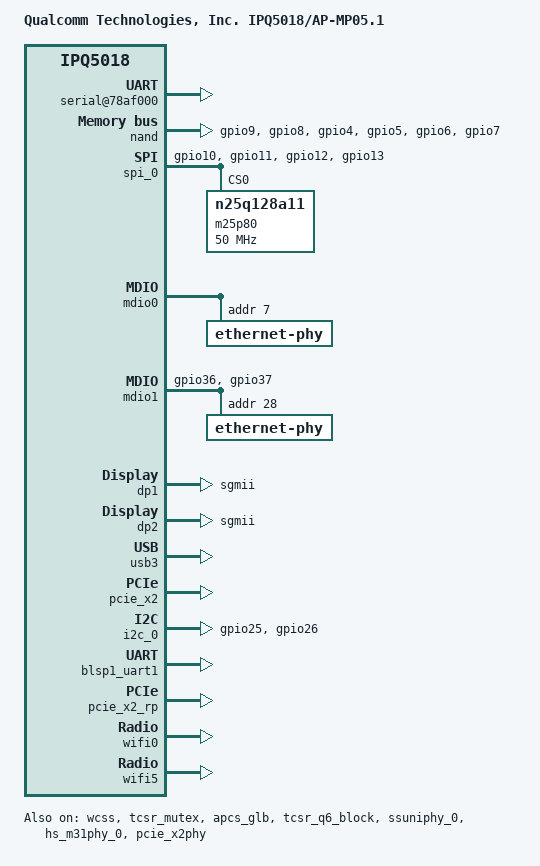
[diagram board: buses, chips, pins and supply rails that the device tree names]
/dts-v1/;
/* Copyright (c) 2018-2021, The Linux Foundation. All rights reserved.
 *
 * Copyright (c) 2022 Qualcomm Innovation Center, Inc. All rights reserved.
 *
 * Permission to use, copy, modify, and/or distribute this software for any
 * purpose with or without fee is hereby granted, provided that the above
 * copyright notice and this permission notice appear in all copies.
 *
 * THE SOFTWARE IS PROVIDED "AS IS" AND THE AUTHOR DISCLAIMS ALL WARRANTIES
 * WITH REGARD TO THIS SOFTWARE INCLUDING ALL IMPLIED WARRANTIES OF
 * MERCHANTABILITY AND FITNESS. IN NO EVENT SHALL THE AUTHOR BE LIABLE FOR
 * ANY SPECIAL, DIRECT, INDIRECT, OR CONSEQUENTIAL DAMAGES OR ANY DAMAGES
 * WHATSOEVER RESULTING FROM LOSS OF USE, DATA OR PROFITS, WHETHER IN AN
 * ACTION OF CONTRACT, NEGLIGENCE OR OTHER TORTIOUS ACTION, ARISING OUT OF
 * OR IN CONNECTION WITH THE USE OR PERFORMANCE OF THIS SOFTWARE.
 */

#include "ipq5018.dtsi"

/ {
	#address-cells = <0x2>;
	#size-cells = <0x2>;
	model = "Qualcomm Technologies, Inc. IPQ5018/AP-MP05.1";
	compatible = "qcom,ipq5018-ap-mp05.1", "qcom,ipq5018-mp05.1", "qcom,ipq5018";
	interrupt-parent = <&intc>;

	aliases {
		sdhc1 = &sdhc_1; /* SDC1 eMMC slot */
		serial0 = &blsp1_uart1;
		serial1 = &blsp1_uart2;
		ethernet0 = "/soc/dp1";
		ethernet1 = "/soc/dp2";
	};

	chosen {
		bootargs = "console=ttyMSM0,115200,n8 rw init=/init";
		bootargs-append = " swiotlb=1 coherent_pool=2M";
		stdout-path = "serial0";
	};

	reserved-memory {
	#ifdef __IPQ_MEM_PROFILE_256_MB__
	/*            256 MB Profile
	 * +=========+==============+========================+
	 * |        |              |                         |
	 * | Region | Start Offset |          Size           |
	 * |        |              |                         |
	 * +--------+--------------+-------------------------+
	 * |        |              |                         |
	 * |        |              |                         |
	 * |  NSS   |  0x40000000  |          8MB            |
	 * |        |              |                         |
	 * |        |              |                         |
	 * +--------+--------------+-------------------------+
	 * |        |              |                         |
	 * |        |              |                         |
	 * |        |              |                         |
	 * |        |              |                         |
	 * | Linux  |  0x40800000  | Depends on total memory |
	 * |        |              |                         |
	 * |        |              |                         |
	 * |        |              |                         |
	 * +        |              |                         |
	 * +--------+--------------+-------------------------+
	 * |        |              |                         |
	 * | uboot  |  0x4A600000  |           4MB           |
	 * |        |              |                         |
	 * +--------+--------------+-------------------------+
	 * |  SBL   |  0x4AA00000  |           1MB           |
	 * +--------+--------------+-------------------------+
	 * |  smem  |  0x4AB00000  |           1MB           |
	 * +--------+--------------+-------------------------+
	 * |        |              |                         |
	 * |   TZ   |  0x4AC00000  |           4MB           |
	 * |        |              |                         |
	 * +--------+--------------+-------------------------+
	 * |        |              |                         |
	 * |        |              |                         |
	 * |        |              |                         |
	 * |   Q6   |  0x4B000000  |          23MB           |
	 * |        |              |                         |
	 * |        |              |                         |
	 * |        |              |                         |
	 * +--------+--------------+-------------------------+
	 * | M3 Dump| 0x4C700000   |          1MB            |
	 * +--------+--------------+-------------------------+
	 * | QDSS   | 0x4C800000   |          1MB            |
	 * +--------+--------------+-------------------------+
	 * |        |              |                         |
	 * |QCN9224 |  0x4C900000  |          17MB           |
	 * |        |              |                         |
	 * +--------+--------------+-------------------------+
	 * |        |              |                         |
	 * |  MHI1  |  0x4DA00000  |           11MB          |
	 * |        |              |                         |
	 * +--------+--------------+-------------------------+
	 * |                                                 |
	 * |      Rest of the memory for Linux               |
	 * |                                                 |
	 * +=================================================+
	 */
		q6_region: memory@4b000000 {
			no-map;
			reg = <0x0 0x4b000000 0x0 0x01700000>;
		};

		m3_dump@4c700000 {
			no-map;
			reg = <0x0 0x4C700000 0x0 0x100000>;
		};

		q6_etr_region:q6_etr_dump@4c800000 {
			no-map;
			reg = <0x0 0x4c800000 0x0 0x100000>;
		};

		qcn9224_pcie0: qcn9224_pcie0@4c900000 {
			no-map;
			reg = <0x0 0x4C900000 0x0 0x01100000>;
		};

	#if defined(__CNSS2__)
		mhi_region0: dma_pool1@4da00000 {
			compatible = "shared-dma-pool";
			no-map;
			reg = <0x0 0x4DA00000 0x0 0x00B00000>;
		};
	#endif
	#elif __IPQ_MEM_PROFILE_512_MB__
	/*                      512 MB Profile
	 * +=========+==============+========================+
	 * |        |              |                         |
	 * | Region | Start Offset |          Size           |
	 * |        |              |                         |
	 * +--------+--------------+-------------------------+
	 * |        |              |                         |
	 * |        |              |                         |
	 * |  NSS   |  0x40000000  |          16MB           |
	 * |        |              |                         |
	 * |        |              |                         |
	 * +--------+--------------+-------------------------+
	 * |        |              |                         |
	 * |        |              |                         |
	 * |        |              |                         |
	 * |        |              |                         |
	 * | Linux  |  0x41000000  | Depends on total memory |
	 * |        |              |                         |
	 * |        |              |                         |
	 * |        |              |                         |
	 * |        |              |                         |
	 * +--------+--------------+-------------------------+
	 * |        |              |                         |
	 * | uboot  |  0x4A600000  |           4MB           |
	 * |        |              |                         |
	 * +--------+--------------+-------------------------+
	 * |  SBL   |  0x4AA00000  |           1MB           |
	 * +--------+--------------+-------------------------+
	 * |  smem  |  0x4AB00000  |           1MB           |
	 * +--------+--------------+-------------------------+
	 * |        |              |                         |
	 * |   TZ   |  0x4AC00000  |           4MB           |
	 * |        |              |                         |
	 * +--------+--------------+-------------------------+
	 * |        |              |                         |
	 * |        |              |                         |
	 * |        |              |                         |
	 * |   Q6   |  0x4B000000  |          24MB           |
	 * |        |              |                         |
	 * |        |              |                         |
	 * +--------+--------------+-------------------------+
	 * | M3 Dump|  0x4C800000  |           1MB           |
	 * +--------+--------------+-------------------------+
	 * |  QDSS  |  0x4C900000  |           1MB           |
	 * +--------+--------------+-------------------------+
	 * | caldb  |  0x4CA00000  |           2MB           |
	 * +--------+--------------+-------------------------+
	 * |        |              |                         |
	 * |QCN9224 |  0x4CC00000  |          46MB           |
	 * |        |              |                         |
	 * +--------+--------------+-------------------------+
	 * |        |              |                         |
	 * |  MHI0  |  0x4FA00000  |           26MB          |
	 * |        |              |                         |
	 * +--------+--------------+-------------------------+
	 * |        |              |                         |
	 * |  MLO   |  0x51400000  |            7MB          |
	 * |        |              |                         |
	 * +--------+--------------+-------------------------+
	 * |                                                 |
	 * |      Rest of the memory for Linux               |
	 * |                                                 |
	 * +=================================================+
	 */
		q6_region: memory@4b000000 {
			no-map;
			reg = <0x0 0x4b000000 0x0 0x01800000>;
		};

		m3_dump@4c800000 {
			no-map;
			reg = <0x0 0x4c800000 0x0 0x100000>;
		};

		q6_etr_region:q6_etr_dump@4c900000 {
			no-map;
			reg = <0x0 0x4c900000 0x0 0x100000>;
		};

		q6_caldb_region:q6_caldb_region@4ca00000 {
			no-map;
			reg = <0x0 0x4ca00000 0x0 0x200000>;
		};

		qcn9224_pcie0: qcn9224_pcie0@4cc00000 {
			no-map;
			reg = <0x0 0x4CC00000 0x0 0x02E00000>;
		};

	#if defined(__CNSS2__)
		mhi_region0: dma_pool1@4FA00000 {
			compatible = "shared-dma-pool";
			no-map;
			reg = <0x0 0x4FA00000 0x0 0x01A00000>;
		};
	#endif
		mlo_global_mem: mlo_global_mem0@51400000 {
			no-map;
			reg = <0x0 0x51400000 0x0 0x700000>;
		};
	#else
	/*                      1G Profile
	 * +=========+==============+========================+
	 * |        |              |                         |
	 * | Region | Start Offset |          Size           |
	 * |        |              |                         |
	 * +--------+--------------+-------------------------+
	 * |        |              |                         |
	 * |        |              |                         |
	 * |  NSS   |  0x40000000  |          16MB           |
	 * |        |              |                         |
	 * |        |              |                         |
	 * +--------+--------------+-------------------------+
	 * |        |              |                         |
	 * |        |              |                         |
	 * |        |              |                         |
	 * |        |              |                         |
	 * | Linux  |  0x41000000  | Depends on total memory |
	 * |        |              |                         |
	 * |        |              |                         |
	 * |        |              |                         |
	 * |        |              |                         |
	 * +--------+--------------+-------------------------+
	 * |        |              |                         |
	 * | uboot  |  0x4A600000  |           4MB           |
	 * |        |              |                         |
	 * +--------+--------------+-------------------------+
	 * |  SBL   |  0x4AA00000  |           1MB           |
	 * +--------+--------------+-------------------------+
	 * |  smem  |  0x4AB00000  |           1MB           |
	 * +--------+--------------+-------------------------+
	 * |        |              |                         |
	 * |   TZ   |  0x4AC00000  |           4MB           |
	 * |        |              |                         |
	 * +--------+--------------+-------------------------+
	 * |        |              |                         |
	 * |        |              |                         |
	 * |        |              |                         |
	 * |   Q6   |  0x4B000000  |          24MB           |
	 * |        |              |                         |
	 * |        |              |                         |
	 * +--------+--------------+-------------------------+
	 * | M3 Dump|  0x4C800000  |           1MB           |
	 * +--------+--------------+-------------------------+
	 * |  QDSS  |  0x4C900000  |           1MB           |
	 * +--------+--------------+-------------------------+
	 * | caldb  |  0x4CA00000  |           2MB           |
	 * +--------+--------------+-------------------------+
	 * |        |              |                         |
	 * |QCN9224 |  0x4CC00000  |          46MB           |
	 * |        |              |                         |
	 * +--------+--------------+-------------------------+
	 * |        |              |                         |
	 * |  MHI0  |  0x4FA00000  |           26MB          |
	 * |        |              |                         |
	 * +--------+--------------+-------------------------+
	 * |        |              |                         |
	 * |  MLO   |  0x51400000  |            7MB          |
	 * |        |              |                         |
	 * +--------+--------------+-------------------------+
	 * |                                                 |
	 * |      Rest of the memory for Linux               |
	 * |                                                 |
	 * +=================================================+
	 */
		q6_region: memory@4b000000 {
			no-map;
			reg = <0x0 0x4b000000 0x0 0x01800000>;
		};

		m3_dump@4c800000 {
			no-map;
			reg = <0x0 0x4c800000 0x0 0x100000>;
		};

		q6_etr_region:q6_etr_dump@4c900000 {
			no-map;
			reg = <0x0 0x4c900000 0x0 0x100000>;
		};

		q6_caldb_region:q6_caldb_region@4ca00000 {
			no-map;
			reg = <0x0 0x4ca00000 0x0 0x200000>;
		};

		qcn9224_pcie0: qcn9224_pcie0@4cc00000 {
			no-map;
			reg = <0x0 0x4CC00000 0x0 0x02E00000>;
		};

	#if defined(__CNSS2__)
		mhi_region0: dma_pool1@4FA00000 {
			compatible = "shared-dma-pool";
			no-map;
			reg = <0x0 0x4FA00000 0x0 0x01A00000>;
		};
	#endif
		mlo_global_mem: mlo_global_mem0@51400000 {
			no-map;
			reg = <0x0 0x51400000 0x0 0x700000>;
		};
	#endif
	};

	soc {
		serial@78af000 {
			status = "ok";
		};

		blsp1_uart2: serial@78b0000 {
			pinctrl-0 = <&blsp1_uart_pins>;
			pinctrl-names = "default";
		};

		qpic_bam: dma@7984000{
			status = "ok";
		};

		nand: qpic-nand@79b0000 {
			pinctrl-0 = <&qspi_nand_pins>;
			pinctrl-names = "default";
			status = "ok";
		};

		spi_0: spi@78b5000 { /* BLSP1 QUP0 */
			pinctrl-0 = <&blsp0_spi_pins>;
			pinctrl-names = "default";
			cs-select = <0>;
			status = "ok";

			m25p80@0 {
				#address-cells = <1>;
				#size-cells = <1>;
				reg = <0>;
				compatible = "n25q128a11";
				linux,modalias = "m25p80", "n25q128a11";
				spi-max-frequency = <50000000>;
				use-default-sizes;
			};
		};

		mdio0: mdio@88000 {
			status = "ok";

			ethernet-phy@0 {
				reg = <7>;
			};
		};

		mdio1: mdio@90000 {
			status = "ok";
			pinctrl-0 = <&mdio1_pins>;
			pinctrl-names = "default";
			phy-reset-gpio = <&tlmm 39 0>;

			ethernet-phy@0 {
				reg = <28>;
			};
		};

		ess-instance {
			num_devices = <0x1>;
			ess-switch@0x39c00000 {
				switch_mac_mode = <0xf>; /* mac mode for uniphy instance*/
				cmnblk_clk = "internal_96MHz"; /* cmnblk clk*/
				qcom,port_phyinfo {
					port@0 {
						port_id = <1>;
						phy_address = <7>;
						mdiobus = <&mdio0>;
					};
					port@1 {
						port_id = <2>;
						phy_address = <0x1c>;
						mdiobus = <&mdio1>;
						port_mac_sel = "QGMAC_PORT";
					};
				};
				led_source@0 {
					source = <0>;
					mode = "normal";
					speed = "all";
					blink_en = "enable";
					active = "high";
				};
			};
		};

		qcom,sps {
			status = "ok";
		};

		qcom,diag@0 {
			status = "ok";
		};

		dp1 {
			device_type = "network";
			compatible = "qcom,nss-dp";
			clocks = <&gcc GCC_SNOC_GMAC0_AXI_CLK>;
			clock-names = "nss-snoc-gmac-axi-clk";
			qcom,id = <1>;
			reg = <0x39C00000 0x10000>;
			interrupts = <GIC_SPI 101 IRQ_TYPE_LEVEL_HIGH>;
			qcom,mactype = <2>;
			qcom,link-poll = <1>;
			qcom,phy-mdio-addr = <7>;
			mdio-bus = <&mdio0>;
			local-mac-address = [000000000000];
			phy-mode = "sgmii";
			qcom,rx-page-mode = <0>;
		};

		dp2 {
			device_type = "network";
			compatible = "qcom,nss-dp";
			clocks = <&gcc GCC_SNOC_GMAC1_AXI_CLK>;
			clock-names = "nss-snoc-gmac-axi-clk";
			qcom,id = <2>;
			reg = <0x39D00000 0x10000>;
			interrupts = <GIC_SPI 109 IRQ_TYPE_LEVEL_HIGH>;
			qcom,mactype = <2>;
			qcom,link-poll = <1>;
			qcom,phy-mdio-addr = <28>;
			mdio-bus = <&mdio1>;
			local-mac-address = [000000000000];
			phy-mode = "sgmii";
			qcom,rx-page-mode = <0>;
		};

		nss-macsec1 {
			compatible = "qcom,nss-macsec";
			phy_addr = <0x1c>;
			mdiobus = <&mdio1>;
		};

		rpm_etm0 {
			status = "disabled";
		};

		pcm: pcm@0xA3C0000{
			pinctrl-0 = <&audio_pins>;
			pinctrl-names = "default";
		};
	};

	qcom,test@0 {
		qcom,wlan-ramdump-dynamic = <0x600000>;
		status = "ok";
	};

	thermal-zones {
		status = "ok";
	};
};

&tlmm {
	pinctrl-0 = <&blsp0_uart_pins &phy_led_pins>;
	pinctrl-names = "default";

	blsp0_uart_pins: blsp0_uart_pins {
		blsp0_uart_rx_tx {
			pins = "gpio20", "gpio21";
			function = "blsp0_uart0";
			bias-disable;
		};
	};

	blsp1_uart_pins: blsp1_uart_pins {
		blsp1_uart_rx_tx {
			pins = "gpio23", "gpio25", "gpio24", "gpio26";
			function = "blsp1_uart2";
			bias-disable;
		};
	};

	blsp0_spi_pins: blsp0_spi_pins {
		mux {
			pins = "gpio10", "gpio11", "gpio12", "gpio13";
			function = "blsp0_spi";
			drive-strength = <2>;
			bias-disable;
		};
	};

	qspi_nand_pins: qspi_nand_pins {
		qspi_clock {
				pins = "gpio9";
				function = "qspi_clk";
				drive-strength = <8>;
				bias-disable;
			};

		qspi_cs {
				pins = "gpio8";
				function = "qspi_cs";
				drive-strength = <8>;
				bias-disable;
			};

		qspi_data {
				pins = "gpio4", "gpio5", "gpio6", "gpio7";
				function = "qspi_data";
				drive-strength = <8>;
				bias-disable;
			};
	};

	mdio1_pins: mdio_pinmux {
		mux_0 {
			pins = "gpio36";
			function = "mdc";
			drive-strength = <8>;
			bias-pull-up;
		};

		mux_1 {
			pins = "gpio37";
			function = "mdio";
			drive-strength = <8>;
			bias-pull-up;
		};
	};

	phy_led_pins: phy_led_pins {
		gephy_led_pin {
			pins = "gpio46";
			function = "led0";
			drive-strength = <8>;
			bias-pull-down;
		};
	};

	i2c_pins: i2c_pins {
		i2c_scl {
			pins = "gpio25";
			function = "blsp2_i2c1";
			drive-strength = <8>;
			bias-disable;
		};

		i2c_sda {
			pins = "gpio26";
			function = "blsp2_i2c1";
			drive-strength = <8>;
			bias-disable;
		};
	};

	audio_pins: audio_pinmux {
		mux_1 {
			pins = "gpio24";
			function = "audio_rxbclk";
			drive-strength = <8>;
			bias-pull-down;
		};

		mux_2 {
			pins = "gpio25";
			function = "audio_rxfsync";
			drive-strength = <8>;
			bias-pull-down;
		};

		mux_3 {
			pins = "gpio26";
			function = "audio_rxd";
			drive-strength = <8>;
			bias-pull-down;
		};

		mux_4 {
			pins = "gpio27";
			function = "audio_txmclk";
			drive-strength = <8>;
			bias-pull-down;
		};

		mux_5 {
			pins = "gpio28";
			function = "audio_txbclk";
			drive-strength = <8>;
			bias-pull-down;
		};

		mux_6 {
			pins = "gpio29";
			function = "audio_txfsync";
			drive-strength = <8>;
			bias-pull-down;
		};

		mux_7 {
			pins = "gpio30";
			function = "audio_txd";
			drive-strength = <8>;
			bias-pull-down;
		};
	};
};

&usb3 {
	qcom,multiplexed-phy;
	qcom,phy-mux-regs = <&tcsr_q6_block 0x2540>;
	device-power-gpio = <&tlmm 24 1>;
	status = "ok";
};

&pcie_x1 {
	perst-gpio = <&tlmm 18 GPIO_ACTIVE_LOW>;
};

&pcie_x2 {
	status = "ok";
	perst-gpio = <&tlmm 15 GPIO_ACTIVE_LOW>;
};

&wcss {
	status = "ok";
};

&tcsr_mutex {
	status = "ok";
};

&apcs_glb {
	status = "ok";
};

&tcsr_q6_block {
	status = "ok";
};

&q6v5_wcss {
	#ifdef __IPQ_MEM_PROFILE_256_MB__
		memory-region = <&q6_region>, <&q6_etr_region>;
	#else
		memory-region = <&q6_region>, <&q6_etr_region>,
				<&q6_caldb_region>;
	#endif
};

&i2c_0 {
	pinctrl-0 = <&i2c_pins>;
	pinctrl-names = "default";
};

&blsp1_uart1 {
	status = "ok";
};

&ssuniphy_0 {
	status = "ok";
};

&hs_m31phy_0 {
	status = "ok";
};

&pcie_x2phy {
	status = "ok";
};

&pcie_x1_rp {
	status = "disabled";

	mhi_0: qcom,mhi@0 {
		reg = <0 0 0 0 0 >;
	};
};

&pcie_x2_rp {
	status = "ok";

	mhi_1: qcom,mhi@1 {
		reg = <0 0 0 0 0 >;
#if defined(__CNSS2__)
		qrtr_node_id = <0x30>;
		memory-region = <0>,<&mhi_region0>;
#endif
	};
};

&wifi0 {
	mem-region = <&q6_region>;
	qcom,board_id = <0x24>;

	qcom,bdf-addr = <0x4BA00000 0x4BA00000 0x4BA00000
		0x0 0x0 0x0>;
	qcom,caldb-addr = <0x4CA00000 0x4CA00000 0x0 0x0 0x0 0x0>;
	qcom,caldb-size = <0x200000>;
	status = "ok";
};

&wifi5 {
#if !defined(__IPQ_MEM_PROFILE_256_MB__)
	/* qcn9224 tgt-mem-mode=0 layout - 46MB
	 * +=========+==============+=========+
	 * |  Region | Start Offset |   Size  |
	 * +---------+--------------+---------+
	 * | HREMOTE |  0x4CC00000  |   36MB  |
	 * +---------+--------------+---------+
	 * | M3 Dump |  0x4F000000  |   1MB   |
	 * +---------+--------------+---------+
	 * |   ETR   |  0x4F100000  |   1MB   |
	 * +---------+--------------+---------+
	 * |  Caldb  |  0x4F200000  |   8MB   |
	 * +==================================+
	 */
	base-addr = <0x4CC00000>;
	m3-dump-addr = <0x4F000000>;
	etr-addr = <0x4F100000>;
	caldb-addr = <0x4F200000>;
	hremote-size = <0x2400000>;
	tgt-mem-mode = <0x0>;
	qrtr_node_id = <0x30>;
	hremote_node = <&qcn9224_pcie0>;
	caldb-size = <0x800000>;
	board_id = <0x1006>;
	status = "ok";
#endif
};
